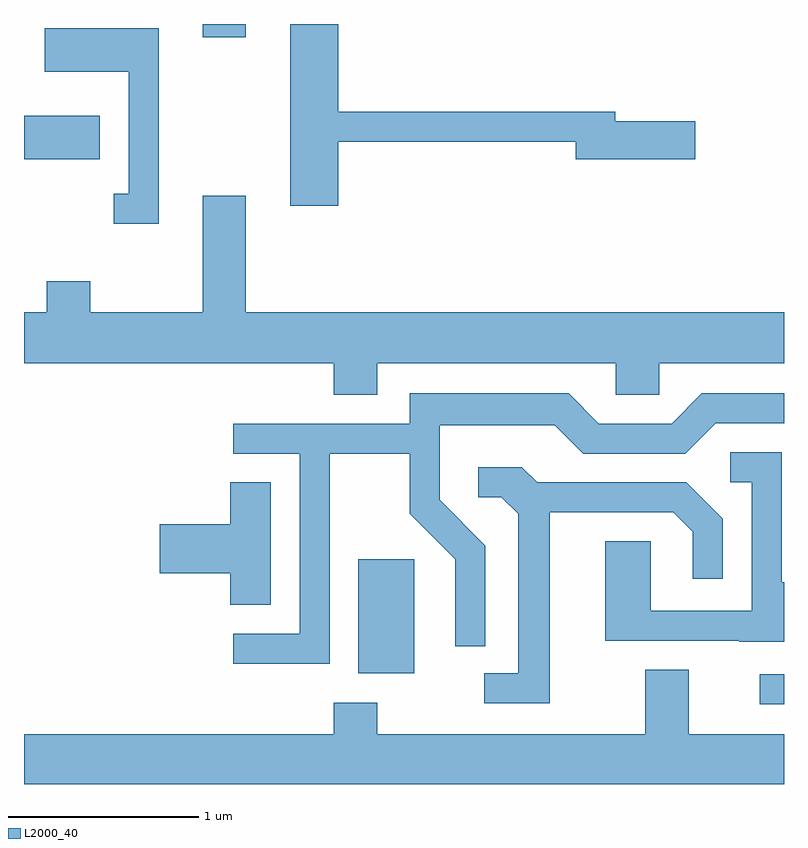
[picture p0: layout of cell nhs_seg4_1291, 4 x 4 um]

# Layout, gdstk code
import gdstk
lib = gdstk.Library(unit=1e-6, precision=1e-09)
def R(c, l, rs):  # rectangles x0, y0, x1, y1
    for r in rs: c.add(gdstk.rectangle(r[:2], r[2:], *l))
def P(c, l, *ps):  # polygons
    for p in ps: c.add(gdstk.Polygon(p, *l))
L2000_40 = (2000, 40)

nhs_seg4_1291 = lib.new_cell('nhs_seg4_1291')
R(nhs_seg4_1291, L2000_40, [(225.483,1388.401,225.611,1388.559), (223.371,1388.566,223.664,1389.164), (221.611,1391.271,222.009,1391.499), (222.551,1391.911,222.779,1391.982)])
P(nhs_seg4_1291, L2000_40, [(223.264,1391.361),(224.516,1391.361),(224.516,1391.271),(225.144,1391.271),(225.144,1391.469),(224.724,1391.469),(224.724,1391.519),(223.264,1391.519),(223.264,1391.982),(223.011,1391.982),(223.011,1391.026),(223.264,1391.026)],
  [(222.319,1391.959),(221.721,1391.959),(221.721,1391.731),(222.161,1391.731),(222.161,1391.089),(222.083,1391.089),(222.083,1390.931),(222.319,1390.931)],
  [(223.469,1390.196),(224.726,1390.196),(224.726,1390.031),(224.954,1390.031),(224.954,1390.196),(225.611,1390.196),(225.611,1390.464),(222.779,1390.464),(222.779,1391.079),(222.551,1391.079),(222.551,1390.464),(221.959,1390.464),(221.959,1390.629),(221.731,1390.629),(221.731,1390.464),(221.611,1390.464),(221.611,1390.196),(223.241,1390.196),(223.241,1390.031),(223.469,1390.031)],
  [(223.219,1389.721),(223.641,1389.721),(223.641,1389.404),(223.881,1389.164),(223.881,1388.708),(224.039,1388.708),(224.039,1389.237),(223.799,1389.477),(223.799,1389.871),(224.404,1389.871),(224.554,1389.721),(225.092,1389.721),(225.252,1389.881),(225.611,1389.881),(225.611,1390.039),(225.179,1390.039),(225.019,1389.879),(224.637,1389.879),(224.477,1390.039),(223.641,1390.039),(223.641,1389.879),(222.713,1389.879),(222.713,1389.721),(223.061,1389.721),(223.061,1388.774),(222.713,1388.774),(222.713,1388.616),(223.219,1388.616)],
  [(225.611,1389.044),(225.599,1389.044),(225.599,1389.729),(225.328,1389.729),(225.328,1389.571),(225.441,1389.571),(225.441,1388.894),(224.909,1388.894),(224.909,1389.259),(224.671,1389.259),(224.671,1388.736),(225.375,1388.736),(225.375,1388.731),(225.611,1388.731)],
  [(224.379,1389.411),(225.029,1389.411),(225.131,1389.309),(225.131,1389.063),(225.289,1389.063),(225.289,1389.377),(225.097,1389.569),(224.312,1389.569),(224.232,1389.649),(224.003,1389.649),(224.003,1389.491),(224.124,1389.491),(224.211,1389.404),(224.211,1388.564),(224.033,1388.564),(224.033,1388.406),(224.379,1388.406)],
  [(222.909,1389.569),(222.696,1389.569),(222.696,1389.349),(222.326,1389.349),(222.326,1389.091),(222.696,1389.091),(222.696,1388.926),(222.909,1388.926)],
  [(225.611,1388.244),(225.109,1388.244),(225.109,1388.584),(224.881,1388.584),(224.881,1388.244),(223.469,1388.244),(223.469,1388.409),(223.241,1388.409),(223.241,1388.244),(221.611,1388.244),(221.611,1387.982),(225.611,1387.982)])

lib.write_gds('nhs_seg4_1291.gds')
